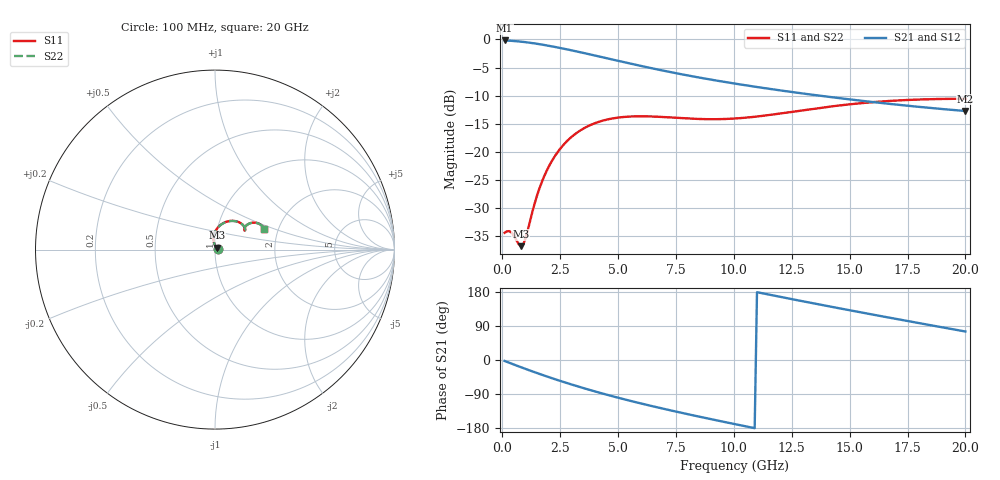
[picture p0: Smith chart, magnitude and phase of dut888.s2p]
! Touchstone file exported from HFSS 2024.1.0
!  File:  C:/UserFiles/LocalFiles/RDL_TSV_Batchsim/temp_RDL_TSV_888_1779931519.aedt
!  Generated:  09:43:37 AM May 28, 2026
!  Design:  RDL_TSV
!  Project:  temp_RDL_TSV_888_1779931519
!  Setup:  Setup1
!  Solution:  Sweep
! Variables:
!  dtsv = 8.8um
!  hbump = 3um
!  htsv = 92.83um
!  ldown = 673.73um
!  lrdl = 534.41um
!  p = 40
!  p1 = 52.28um
!  rhole = 10um
!  subl = 4158.83um
!  t = 450um
!  tdown = 3um
!  trdl = 3.46um
!  viad = 10um
!  wdown = 22.37um
!  wrdl = 29.69um
!  xbump = 18um
# GHz S MA R 50.000000
! Terminal data exported
! Port[1] = TM1_1_T1
! Port[2] = TM1_4_T1
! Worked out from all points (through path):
!   200 points, 100 MHz to 20 GHz, reference 50 ohm
!   highest |S21| = -0.17 dB at 100 MHz (marker M1); lowest = -12.7 dB at 20 GHz (marker M2)
!   group delay of S21, straight-line fit = 37.5 ps
!   lowest |S11| = -36.7 dB at 800 MHz (marker M3), VSWR 1.03, Z = 51 + j1.04 ohm
!   |S11| at or under -10 dB: start of sweep to end of sweep
!   |S22| runs from -36.7 to -10.6 dB; largest |S21 - S12| = 1.1e-14
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0.1  0.01917 5.6  0.9804 -2.5  0.9804 -2.5  0.01917 5.6
! Gamma 0 0 0 0
! Port Impedance 50 0 50 0
0.4  0.01922 13.5  0.9727 -9.6  0.9727 -9.6  0.01923 13.5
0.8  0.01458 44.5  0.9571 -18.9  0.9571 -18.9  0.01459 44.3
0.9  0.01503 59.4  0.9522 -21.2  0.9522 -21.2  0.01503 59.1
1  0.01694 73.3  0.9469 -23.4  0.9469 -23.4  0.01691 73.0
1.5  0.04101 99.0  0.9159 -34.5  0.9159 -34.5  0.04085 98.9
1.7  0.05371 99.0  0.9019 -38.8  0.9019 -38.8  0.0535 98.9
2  0.07375 95.9  0.8797 -45.0  0.8797 -45.0  0.07348 95.8
2.3  0.09388 91.2  0.8565 -51.1  0.8565 -51.1  0.09354 91.1
2.7  0.1194 84.1  0.8246 -59.0  0.8246 -59.0  0.119 84.1
3.5  0.1615 70.1  0.7601 -74.1  0.7601 -74.1  0.1609 70.0
4.3  0.1892 57.9  0.6975 -88.0  0.6975 -88.0  0.1885 57.9
5.1  0.2035 48.2  0.6396 -101.1  0.6396 -101.1  0.2027 48.1
5.9  0.2078 40.9  0.5876 -113.4  0.5876 -113.4  0.207 40.9
6.8  0.2055 35.5  0.5365 -126.4  0.5365 -126.4  0.2047 35.5
8.3  0.1974 32.5  0.4671 -146.8  0.4671 -146.8  0.1966 32.5
10.1  0.1989 34.9  0.4039 -169.9  0.4039 -169.9  0.1983 35.0
11.8  0.2171 37.4  0.3578 169.1  0.3578 169.1  0.2165 37.5
13.4  0.2417 37.1  0.3227 150.0  0.3227 150.0  0.2411 37.1
15  0.2654 34.5  0.2937 131.3  0.2937 131.3  0.2648 34.6
16.7  0.2842 30.5  0.2682 111.9  0.2682 111.9  0.2835 30.6
20  0.2972 22.7  0.2316 75.2  0.2316 75.2  0.2964 22.8
